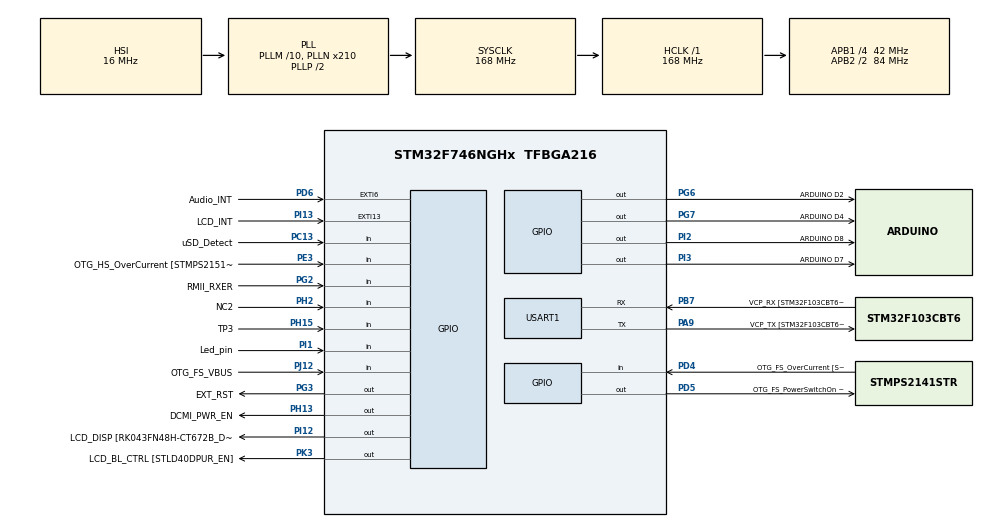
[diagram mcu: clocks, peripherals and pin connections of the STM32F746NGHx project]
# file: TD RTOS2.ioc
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FREERTOS.Tasks01=defaultTask,0,128,StartDefaultTask,Default,NULL,Dynamic,NULL,NULL
Mcu.Family=STM32F7
Mcu.Name=STM32F746NGHx
Mcu.Package=TFBGA216
NVIC.PriorityGroup=NVIC_PRIORITYGROUP_4
NVIC.TIM6_DAC_IRQn=true\:15\:0\:false\:false\:true\:false\:false\:true\:true
NVIC.TimeBase=TIM6_DAC_IRQn
NVIC.TimeBaseIP=TIM6
NVIC.USART1_IRQn=true\:5\:0\:false\:false\:true\:true\:true\:true\:true
PA0/WKUP.GPIO_Label=ARDUINO A0
PA0/WKUP.GPIO_Mode=GPIO_MODE_ANALOG
PA0/WKUP.GPIO_PuPd=GPIO_NOPULL
PA0/WKUP.Signal=ADCx_IN0
PA1.GPIO_Label=RMII_REF_CLK [LAN8742A-CZ-TR_REFCLK0]
PA1.Signal=ETH_REF_CLK
PA10.GPIO_Label=OTG_FS_ID
PA10.Signal=USB_OTG_FS_ID
PA11.GPIO_Label=OTG_FS_N
PA11.Signal=USB_OTG_FS_DM
PA12.GPIO_Label=OTG_FS_P
PA12.Signal=USB_OTG_FS_DP
PA13.GPIO_Label=SWDIO
PA13.Mode=Serial_Wire
PA13.Signal=SYS_JTMS-SWDIO
PA14.GPIO_Label=SWCLK
PA14.Mode=Serial_Wire
PA14.Signal=SYS_JTCK-SWCLK
PA15.GPIO_Label=ARDUINO PWM/D9
PA15.GPIO_ModeDefaultPP=GPIO_MODE_AF_PP
PA15.GPIO_PuPd=GPIO_NOPULL
PA15.GPIO_Speed=GPIO_SPEED_FREQ_LOW
PA15.Signal=S_TIM2_CH1_ETR
PA2.GPIO_Label=RMII_MDIO [LAN8742A-CZ-TR_MDIO]
PA2.Signal=ETH_MDIO
PA3.GPIO_Label=ULPI_D0 [USB3320C-EZK_D0]
PA3.Signal=USB_OTG_HS_ULPI_D0
PA4.GPIO_Label=DCMI_HSYNC
PA4.Signal=DCMI_HSYNC
PA5.GPIO_Label=ULPI_CLK [USB3320C-EZK_CLKOUT]
PA5.Signal=USB_OTG_HS_ULPI_CK
PA6.Signal=DCMI_PIXCLK
PA7.GPIO_Label=RMII_CRS_DV [LAN8742A-CZ-TR_CRS_DV]
PA7.Signal=ETH_CRS_DV
PA8.GPIO_Label=ARDUINO PWM/D10
PA8.GPIO_ModeDefaultPP=GPIO_MODE_AF_PP
PA8.GPIO_PuPd=GPIO_NOPULL
PA8.GPIO_Speed=GPIO_SPEED_FREQ_LOW
PA8.Signal=S_TIM1_CH1
PA9.GPIO_Label=VCP_TX [STM32F103CBT6_PA3]
PA9.GPIO_Mode=GPIO_MODE_AF_PP
PA9.GPIO_PuPd=GPIO_NOPULL
PA9.GPIO_Speed=GPIO_SPEED_FREQ_LOW
PA9.Mode=Asynchronous
PA9.Signal=USART1_TX
PB0.GPIO_Label=ULPI_D1 [USB3320C-EZK_D1]
PB0.Signal=USB_OTG_HS_ULPI_D1
PB1.GPIO_Label=ULPI_D2 [USB3320C-EZK_D2]
PB1.Signal=USB_OTG_HS_ULPI_D2
PB10.GPIO_Label=ULPI_D3 [USB3320C-EZK_D3]
PB10.Signal=USB_OTG_HS_ULPI_D3
PB11.GPIO_Label=ULPI_D4 [USB3320C-EZK_D4]
PB11.Signal=USB_OTG_HS_ULPI_D4
PB12.GPIO_Label=ULPI_D5 [USB3320C-EZK_D5]
PB12.Signal=USB_OTG_HS_ULPI_D5
PB13.GPIO_Label=ULPI_D6 [USB3320C-EZK_D6]
PB13.Signal=USB_OTG_HS_ULPI_D6
PB14.GPIO_Label=ARDUINO MISO/D12
PB14.GPIO_Mode=GPIO_MODE_AF_PP
PB14.GPIO_PuPd=GPIO_NOPULL
PB14.GPIO_Speed=GPIO_SPEED_FREQ_LOW
PB14.Signal=SPI2_MISO
PB15.GPIO_Label=ARDUINO MOSI/PWM/D11
PB15.GPIO_Mode=GPIO_MODE_AF_PP
PB15.GPIO_PuPd=GPIO_NOPULL
PB15.GPIO_Speed=GPIO_SPEED_FREQ_LOW
PB15.Signal=SPI2_MOSI
PB2.Signal=QUADSPI_CLK
PB3.GPIO_Label=SWO
PB3.Signal=SYS_JTDO-SWO
PB4.GPIO_Label=ARDUINO PWM/D3
PB4.GPIO_ModeDefaultPP=GPIO_MODE_AF_PP
PB4.GPIO_PuPd=GPIO_NOPULL
PB4.GPIO_Speed=GPIO_SPEED_FREQ_LOW
PB4.Signal=S_TIM3_CH1
PB5.GPIO_Label=ULPI_D7 [USB3320C-EZK_D7]
PB5.Signal=USB_OTG_HS_ULPI_D7
PB6.GPIO_Label=QSPI_NCS [N25Q128A13EF840E_S]
PB6.Signal=QUADSPI_BK1_NCS
PB7.GPIO_Label=VCP_RX [STM32F103CBT6_PA2]
PB7.GPIO_Mode=GPIO_MODE_AF_PP
PB7.GPIO_PuPd=GPIO_NOPULL
PB7.GPIO_Speed=GPIO_SPEED_FREQ_LOW
PB7.Mode=Asynchronous
PB7.Signal=USART1_RX
PB8.GPIO_Label=ARDUINO SCL/D15
PB8.GPIO_Mode=GPIO_MODE_AF_OD
PB8.GPIO_PuPd=GPIO_NOPULL
PB8.GPIO_Speed=GPIO_SPEED_FREQ_LOW
PB8.Signal=I2C1_SCL
PB9.GPIO_Label=ARDUINO SDA/D14
PB9.GPIO_Mode=GPIO_MODE_AF_OD
PB9.GPIO_PuPd=GPIO_NOPULL
PB9.GPIO_Speed=GPIO_SPEED_FREQ_LOW
PB9.Signal=I2C1_SDA
PC0.GPIO_Label=ULPI_STP [USB3320C-EZK_STP]
PC0.Signal=USB_OTG_HS_ULPI_STP
PC1.GPIO_Label=RMII_MDC [LAN8742A-CZ-TR_MDC]
PC1.Signal=ETH_MDC
PC10.GPIO_Label=SDMMC_D2
PC10.Signal=SDMMC1_D2
PC11.GPIO_Label=SDMMC_D3
PC11.Signal=SDMMC1_D3
PC12.GPIO_Label=SDMMC_CK
PC12.Signal=SDMMC1_CK
PC13.GPIO_Label=uSD_Detect
PC13.Signal=GPIO_Input
PC14/OSC32_IN.GPIO_Label=RCC_OSC32_IN
PC14/OSC32_IN.Signal=RCC_OSC32_IN
PC15/OSC32_OUT.GPIO_Label=RCC_OSC32_OUT
PC15/OSC32_OUT.Signal=RCC_OSC32_OUT
PC2.GPIO_Label=ULPI_DIR [USB3320C-EZK_DIR]
PC2.Signal=USB_OTG_HS_ULPI_DIR
PC3.GPIO_Label=FMC_SDCKE0 [MT48LC4M32B2B5-6A_CKE]
PC3.Signal=FMC_SDCKE0
PC4.GPIO_Label=RMII_RXD0 [LAN8742A-CZ-TR_RXD0]
PC4.Signal=ETH_RXD0
PC5.GPIO_Label=RMII_RXD1 [LAN8742A-CZ-TR_RXD1]
PC5.Signal=ETH_RXD1
PC6.GPIO_Label=ARDUINO TX/D1
PC6.Signal=USART6_TX
PC7.GPIO_Label=ARDUINO RX/D0
PC7.Signal=USART6_RX
PC8.Signal=SDMMC1_D0
PC9.Signal=SDMMC1_D1
PD0.GPIO_Label=FMC_D2 [MT48LC4M32B2B5-6A_DQ2]
PD0.Signal=FMC_D2_DA2
PD1.GPIO_Label=FMC_D3 [MT48LC4M32B2B5-6A_DQ3]
PD1.Signal=FMC_D3_DA3
PD10.GPIO_Label=FMC_D15 [MT48LC4M32B2B5-6A_DQ15]
PD10.Signal=FMC_D15_DA15
PD11.GPIO_Label=QSPI_D0 [N25Q128A13EF840E_DQ0]
PD11.Signal=QUADSPI_BK1_IO0
PD12.GPIO_Label=QSPI_D1 [N25Q128A13EF840E_DQ1]
PD12.Signal=QUADSPI_BK1_IO1
PD13.GPIO_Label=QSPI_D3 [N25Q128A13EF840E_DQ3]
PD13.Signal=QUADSPI_BK1_IO3
PD14.GPIO_Label=FMC_D0 [MT48LC4M32B2B5-6A_DQ0]
PD14.Signal=FMC_D0_DA0
PD15.GPIO_Label=FMC_D1 [MT48LC4M32B2B5-6A_DQ1]
PD15.Signal=FMC_D1_DA1
PD2.GPIO_Label=SDMMC_D0
PD2.Signal=SDMMC1_CMD
PD3.GPIO_Label=DCMI_D5
PD3.Signal=DCMI_D5
PD4.GPIO_Label=OTG_FS_OverCurrent [STMPS2141STR_Fault]
PD4.Signal=GPIO_Input
PD5.GPIO_Label=OTG_FS_PowerSwitchOn [STMPS2141STR_EN]
PD5.PinState=GPIO_PIN_SET
PD5.Signal=GPIO_Output
PD6.GPIO_Label=Audio_INT
PD6.GPIO_ModeDefaultEXTI=GPIO_MODE_EVT_RISING
PD6.Signal=GPXTI6
PD7.GPIO_Label=SPDIF_RX0 [74LVC1G04SE_4]
PD7.Signal=SPDIFRX_IN0
PD8.GPIO_Label=FMC_D13 [MT48LC4M32B2B5-6A_DQ13]
PD8.Signal=FMC_D13_DA13
PD9.GPIO_Label=FMC_D14 [MT48LC4M32B2B5-6A_DQ14]
PD9.Signal=FMC_D14_DA14
PE0.GPIO_Label=FMC_NBL0 [MT48LC4M32B2B5-6A_DQM0]
PE0.Signal=FMC_NBL0
PE1.GPIO_Label=FMC_NBL1 [MT48LC4M32B2B5-6A_DQM1]
PE1.Signal=FMC_NBL1
PE10.GPIO_Label=FMC_D7 [MT48LC4M32B2B5-6A_DQ7]
PE10.Signal=FMC_D7_DA7
PE11.GPIO_Label=FMC_D8 [MT48LC4M32B2B5-6A_DQ8]
PE11.Signal=FMC_D8_DA8
PE12.GPIO_Label=FMC_D9 [MT48LC4M32B2B5-6A_DQ9]
PE12.Signal=FMC_D9_DA9
PE13.GPIO_Label=FMC_D10 [MT48LC4M32B2B5-6A_DQ10]
PE13.Signal=FMC_D10_DA10
PE14.GPIO_Label=FMC_D11 [MT48LC4M32B2B5-6A_DQ11]
PE14.Signal=FMC_D11_DA11
PE15.GPIO_Label=FMC_D12 [MT48LC4M32B2B5-6A_DQ12]
PE15.Signal=FMC_D12_DA12
PE2.GPIO_Label=QSPI_D2 [N25Q128A13EF840E_DQ2]
PE2.Signal=QUADSPI_BK1_IO2
PE3.GPIO_Label=OTG_HS_OverCurrent [STMPS2151STR_FAULT]
PE3.Signal=GPIO_Input
PE4.GPIO_Label=LCD_B0 [RK043FN48H-CT672B_B0]
PE4.Signal=LTDC_B0
PE5.GPIO_Label=DCMI_D6
PE5.Signal=DCMI_D6
PE6.GPIO_Label=DCMI_D7
PE6.Signal=DCMI_D7
PE7.GPIO_Label=FMC_D4 [MT48LC4M32B2B5-6A_DQ4]
PE7.Signal=FMC_D4_DA4
PE8.GPIO_Label=FMC_D5 [MT48LC4M32B2B5-6A_DQ5]
PE8.Signal=FMC_D5_DA5
PE9.GPIO_Label=FMC_D6 [MT48LC4M32B2B5-6A_DQ6]
PE9.Signal=FMC_D6_DA6
PF0.GPIO_Label=FMC_A0 [MT48LC4M32B2B5-6A_A0]
PF0.Signal=FMC_A0
PF1.GPIO_Label=FMC_A1 [MT48LC4M32B2B5-6A_A1]
PF1.Signal=FMC_A1
PF10.GPIO_Label=ARDUINO A1
PF10.GPIO_Mode=GPIO_MODE_ANALOG
PF10.GPIO_PuPd=GPIO_NOPULL
PF10.Signal=ADC3_IN8
PF11.GPIO_Label=FMC_SDNRAS [MT48LC4M32B2B5-6A_RAS]
PF11.Signal=FMC_SDNRAS
PF12.GPIO_Label=FMC_A6 [MT48LC4M32B2B5-6A_A6]
PF12.Signal=FMC_A6
PF13.GPIO_Label=FMC_A7 [MT48LC4M32B2B5-6A_A7]
PF13.Signal=FMC_A7
PF14.GPIO_Label=FMC_A8 [MT48LC4M32B2B5-6A_A8]
PF14.Signal=FMC_A8
PF15.GPIO_Label=FMC_A9 [MT48LC4M32B2B5-6A_A9]
PF15.Signal=FMC_A9
PF2.GPIO_Label=FMC_A2 [MT48LC4M32B2B5-6A_A2]
PF2.Signal=FMC_A2
PF3.GPIO_Label=FMC_A3 [MT48LC4M32B2B5-6A_A3]
PF3.Signal=FMC_A3
PF4.GPIO_Label=FMC_A4 [MT48LC4M32B2B5-6A_A4]
PF4.Signal=FMC_A4
PF5.GPIO_Label=FMC_A5 [MT48LC4M32B2B5-6A_A5]
PF5.Signal=FMC_A5
PF6.GPIO_Label=ARDUINO A5
PF6.GPIO_Mode=GPIO_MODE_ANALOG
PF6.GPIO_PuPd=GPIO_NOPULL
PF6.Signal=ADC3_IN4
PF7.GPIO_Label=ARDUINO A4
PF7.GPIO_Mode=GPIO_MODE_ANALOG
PF7.GPIO_PuPd=GPIO_NOPULL
PF7.Signal=ADC3_IN5
PF8.GPIO_Label=ARDUINO A3
PF8.GPIO_Mode=GPIO_MODE_ANALOG
PF8.GPIO_PuPd=GPIO_NOPULL
PF8.Signal=ADC3_IN6
PF9.GPIO_Label=ARDUINO A2
PF9.GPIO_Mode=GPIO_MODE_ANALOG
PF9.GPIO_PuPd=GPIO_NOPULL
PF9.Signal=ADC3_IN7
PG0.GPIO_Label=FMC_A10 [MT48LC4M32B2B5-6A_A10]
PG0.Signal=FMC_A10
PG1.GPIO_Label=FMC_A11 [MT48LC4M32B2B5-6A_A11]
PG1.Signal=FMC_A11
PG10.GPIO_Label=SAI2_SDB [WM8994ECS/R_ADCDAT1]
PG10.Signal=SAI2_SD_B
PG11.GPIO_Label=RMII_TX_EN [LAN8742A-CZ-TR_TXEN]
PG11.Signal=ETH_TX_EN
PG12.GPIO_Label=LCD_B4 [RK043FN48H-CT672B_B4]
PG12.Signal=LTDC_B4
PG13.GPIO_Label=RMII_TXD0 [LAN8742A-CZ-TR_TXD0]
PG13.Signal=ETH_TXD0
PG14.GPIO_Label=RMII_TXD1 [LAN8742A-CZ-TR_TXD1]
PG14.Signal=ETH_TXD1
PG15.GPIO_Label=FMC_SDNCAS [MT48LC4M32B2B5-6A_CAS]
PG15.Signal=FMC_SDNCAS
PG2.GPIO_Label=RMII_RXER
PG2.Signal=GPIO_Input
PG3.GPIO_Label=EXT_RST
PG3.Signal=GPIO_Output
PG4.GPIO_Label=FMC_BA0 [MT48LC4M32B2B5-6A_BA0]
PG4.Signal=FMC_A14_BA0
PG5.GPIO_Label=FMC_BA1 [MT48LC4M32B2B5-6A_BA1]
PG5.Signal=FMC_A15_BA1
PG6.GPIO_Label=ARDUINO D2
PG6.Signal=GPIO_Output
PG7.GPIO_Label=ARDUINO D4
PG7.Signal=GPIO_Output
PG8.GPIO_Label=FMC_SDCLK [MT48LC4M32B2B5-6A_CLK]
PG8.Signal=FMC_SDCLK
PG9.GPIO_Label=DCMI_VSYNC
PG9.Signal=DCMI_VSYNC
PH0/OSC_IN.GPIO_Label=OSC_25M [NZ2520SB-25.00M_OUT]
PH0/OSC_IN.Mode=HSE-External-Oscillator
PH0/OSC_IN.Signal=RCC_OSC_IN
PH1/OSC_OUT.Mode=HSE-External-Oscillator
PH1/OSC_OUT.Signal=RCC_OSC_OUT
PH10.GPIO_Label=DCMI_D1
PH10.Signal=DCMI_D1
PH11.GPIO_Label=DCMI_D2
PH11.Signal=DCMI_D2
PH12.GPIO_Label=DCMI_D3
PH12.Signal=DCMI_D3
PH13.GPIO_Label=DCMI_PWR_EN
PH13.Signal=GPIO_Output
PH14.GPIO_Label=DCMI_D4
PH14.Signal=DCMI_D4
PH15.GPIO_Label=TP3
PH15.Signal=GPIO_Input
PH2.GPIO_Label=NC2
PH2.Signal=GPIO_Input
PH3.GPIO_Label=FMC_SDNE0 [MT48LC4M32B2B5-6A_CS]
PH3.Signal=FMC_SDNE0
PH4.GPIO_Label=ULPI_NXT [USB3320C-EZK_NXT]
PH4.Signal=USB_OTG_HS_ULPI_NXT
PH5.GPIO_Label=FMC_SDNME [MT48LC4M32B2B5-6A_WE]
PH5.Signal=FMC_SDNWE
PH6.GPIO_Label=ARDUINO PWM/D6
PH6.Signal=S_TIM12_CH1
PH7.GPIO_Label=LCD_SCL [RK043FN48H-CT672B_SCL]
PH7.Signal=I2C3_SCL
PH8.GPIO_Label=LCD_SDA [RK043FN48H-CT672B_SDA]
PH8.Signal=I2C3_SDA
PH9.GPIO_Label=DCMI_D0
PH9.Signal=DCMI_D0
PI0.GPIO_Label=ARDUINO PWM/CS/D5
PI0.GPIO_ModeDefaultPP=GPIO_MODE_AF_PP
PI0.GPIO_PuPd=GPIO_NOPULL
PI0.GPIO_Speed=GPIO_SPEED_FREQ_LOW
PI0.Signal=S_TIM5_CH4
PI1.GPIO_Label=Led_pin
PI1.Signal=GPIO_Input
PI10.GPIO_Label=LCD_HSYNC [RK043FN48H-CT672B_HSYNC]
PI10.Signal=LTDC_HSYNC
PI12.GPIO_Label=LCD_DISP [RK043FN48H-CT672B_DISP] 
PI12.Signal=GPIO_Output
PI13.GPIO_Label=LCD_INT
PI13.GPIO_ModeDefaultEXTI=GPIO_MODE_EVT_RISING
PI13.Signal=GPXTI13
PI14.GPIO_Label=LCD_CLK [RK043FN48H-CT672B_CLK]
PI14.Signal=LTDC_CLK
PI15.GPIO_Label=LCD_R0 [RK043FN48H-CT672B_R0]
PI15.Signal=LTDC_R0
PI2.GPIO_Label=ARDUINO D8
PI2.Signal=GPIO_Output
PI3.GPIO_Label=ARDUINO D7
PI3.Signal=GPIO_Output
PI4.GPIO_Label=SAI2_MCLKA [WM8994ECS/R_MCLK1]
PI4.Signal=SAI2_MCLK_A
PI5.GPIO_Label=SAI2_SCKA [WM8994ECS/R_BCLK1]
PI5.Signal=SAI2_SCK_A
PI6.GPIO_Label=SAI2_SDA [WM8994ECS/R_DACDAT1]
PI6.Signal=SAI2_SD_A
PI7.GPIO_Label=SAI2_FSA [WM8994ECS/R_LRCLK1]
PI7.Signal=SAI2_FS_A
PI8.GPIO_Label=NC1 [TP2]
PI8.Signal=RTC_TS
PI9.GPIO_Label=LCD_VSYNC [RK043FN48H-CT672B_VSYNC]
PI9.Signal=LTDC_VSYNC
PJ0.GPIO_Label=LCD_R1 [RK043FN48H-CT672B_R1]
PJ0.Signal=LTDC_R1
PJ1.GPIO_Label=LCD_R2 [RK043FN48H-CT672B_R2]
PJ1.Signal=LTDC_R2
PJ10.GPIO_Label=LCD_G3 [RK043FN48H-CT672B_G3]
PJ10.Signal=LTDC_G3
PJ11.GPIO_Label=LCD_G4 [RK043FN48H-CT672B_G4]
PJ11.Signal=LTDC_G4
PJ12.GPIO_Label=OTG_FS_VBUS
PJ12.Signal=GPIO_Input
PJ13.GPIO_Label=LCD_B1 [RK043FN48H-CT672B_B1]
PJ13.Signal=LTDC_B1
PJ14.GPIO_Label=LCD_B2 [RK043FN48H-CT672B_B2]
PJ14.Signal=LTDC_B2
PJ15.GPIO_Label=LCD_B3 [RK043FN48H-CT672B_B3]
PJ15.Signal=LTDC_B3
PJ2.GPIO_Label=LCD_R3 [RK043FN48H-CT672B_R3]
PJ2.Signal=LTDC_R3
PJ3.GPIO_Label=LCD_R4 [RK043FN48H-CT672B_R4]
PJ3.Signal=LTDC_R4
PJ4.GPIO_Label=LCD_R5 [RK043FN48H-CT672B_R5]
PJ4.Signal=LTDC_R5
PJ5.GPIO_Label=LCD_R6 [RK043FN48H-CT672B_R6]
PJ5.Signal=LTDC_R6
PJ6.GPIO_Label=LCD_R7 [RK043FN48H-CT672B_R7]
PJ6.Signal=LTDC_R7
PJ7.GPIO_Label=LCD_G0 [RK043FN48H-CT672B_G0]
PJ7.Signal=LTDC_G0
PJ8.GPIO_Label=LCD_G1 [RK043FN48H-CT672B_G1]
PJ8.Signal=LTDC_G1
PJ9.GPIO_Label=LCD_G2 [RK043FN48H-CT672B_G2]
PJ9.Signal=LTDC_G2
PK0.GPIO_Label=LCD_G5 [RK043FN48H-CT672B_G5]
PK0.Signal=LTDC_G5
PK1.GPIO_Label=LCD_G6 [RK043FN48H-CT672B_G6]
PK1.Signal=LTDC_G6
PK2.GPIO_Label=LCD_G7 [RK043FN48H-CT672B_G7]
PK2.Signal=LTDC_G7
PK3.GPIO_Label=LCD_BL_CTRL [STLD40DPUR_EN]
PK3.Signal=GPIO_Output
PK4.GPIO_Label=LCD_B5 [RK043FN48H-CT672B_B5]
PK4.Signal=LTDC_B5
PK5.GPIO_Label=LCD_B6 [RK043FN48H-CT672B_B6]
PK5.Signal=LTDC_B6
PK6.GPIO_Label=LCD_B7 [RK043FN48H-CT672B_B7]
PK6.Signal=LTDC_B7
PK7.GPIO_Label=LCD_DE [RK043FN48H-CT672B_DE]
PK7.Signal=LTDC_DE
ProjectManager.HeapSize=0x200
ProjectManager.StackSize=0x400
ProjectManager.TargetToolchain=STM32CubeIDE
RCC.AHBFreq_Value=168000000
RCC.APB1CLKDivider=RCC_HCLK_DIV4
RCC.APB1Freq_Value=42000000
RCC.APB1TimFreq_Value=84000000
RCC.APB2CLKDivider=RCC_HCLK_DIV2
RCC.APB2Freq_Value=84000000
RCC.APB2TimFreq_Value=168000000
RCC.CortexFreq_Value=168000000
RCC.HCLKFreq_Value=168000000
RCC.HSE_VALUE=25000000
RCC.HSI_VALUE=16000000
RCC.LSE_VALUE=32768
RCC.PLLM=10
RCC.PLLN=210
RCC.PLLSourceVirtual=RCC_PLLSOURCE_HSI
RCC.SYSCLKFreq_VALUE=168000000
RCC.SYSCLKSource=RCC_SYSCLKSOURCE_PLLCLK
RCC.USBFreq_Value=168000000
RCC.VCOOutputFreq_Value=336000000
SH.ADCx_IN0.0=ADC3_IN0
SH.FMC_A0.0=FMC_A0
SH.FMC_A1.0=FMC_A1
SH.FMC_A10.0=FMC_A10
SH.FMC_A11.0=FMC_A11
SH.FMC_A14_BA0.0=FMC_BA0
SH.FMC_A15_BA1.0=FMC_BA1
SH.FMC_A2.0=FMC_A2
SH.FMC_A3.0=FMC_A3
SH.FMC_A4.0=FMC_A4
SH.FMC_A5.0=FMC_A5
SH.FMC_A6.0=FMC_A6
SH.FMC_A7.0=FMC_A7
SH.FMC_A8.0=FMC_A8
SH.FMC_A9.0=FMC_A9
SH.FMC_D0_DA0.0=FMC_D0
SH.FMC_D10_DA10.0=FMC_D10
SH.FMC_D11_DA11.0=FMC_D11
SH.FMC_D12_DA12.0=FMC_D12
SH.FMC_D13_DA13.0=FMC_D13
SH.FMC_D14_DA14.0=FMC_D14
SH.FMC_D15_DA15.0=FMC_D15
SH.FMC_D1_DA1.0=FMC_D1
SH.FMC_D2_DA2.0=FMC_D2
SH.FMC_D3_DA3.0=FMC_D3
SH.FMC_D4_DA4.0=FMC_D4
SH.FMC_D5_DA5.0=FMC_D5
SH.FMC_D6_DA6.0=FMC_D6
SH.FMC_D7_DA7.0=FMC_D7
SH.FMC_D8_DA8.0=FMC_D8
SH.FMC_D9_DA9.0=FMC_D9
SH.FMC_NBL0.0=FMC_NBL0
SH.FMC_NBL1.0=FMC_NBL1
SH.FMC_SDCLK.0=FMC_SDCLK
SH.FMC_SDNCAS.0=FMC_SDNCAS
SH.FMC_SDNRAS.0=FMC_SDNRAS
SH.FMC_SDNWE.0=FMC_SDNWE
SH.S_TIM12_CH1.0=TIM12_CH1
SH.S_TIM1_CH1.0=TIM1_CH1
SH.S_TIM2_CH1_ETR.0=TIM2_CH1
SH.S_TIM3_CH1.0=TIM3_CH1
SH.S_TIM5_CH4.0=TIM5_CH4
USART1.VirtualMode-Asynchronous=VM_ASYNC
VP_FREERTOS_VS_CMSIS_V1.Mode=CMSIS_V1
VP_SYS_VS_tim6.Mode=TIM6
board=STM32F746G-DISCO

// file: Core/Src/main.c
/* USER CODE BEGIN Header */
/**
 ******************************************************************************
 * @file           : main.c
 * @brief          : Main program body
 ******************************************************************************
 * @attention
 *
 * Copyright (c) 2024 STMicroelectronics.
 * All rights reserved.
 *
 * This software is licensed under terms that can be found in the LICENSE file
 * in the root directory of this software component.
 * If no LICENSE file comes with this software, it is provided AS-IS.
 *
 ******************************************************************************
 */
/* USER CODE END Header */
#include "main.h"
#include "cmsis_os.h"
#include "usart.h"
#include "gpio.h"

void SystemClock_Config(void);
void MX_FREERTOS_Init(void);

/* USER CODE BEGIN 0 */

TaskHande_t handle_blink_led;
TaskHande_t handle_uart;

void task_blink_led(void * unused)
{
for (;;)
{
	HAL_GPIO_TogglePin(LED_GPIO_Port, LED_Pin);
	vTaskDelay(100);
}
}

void uart(void * unused)
{
for (;;)
{
	char chr;
	HAL_UART_Receive(&huart1, (uint8_t *)&chr, 1);
	//Ici il faut bloquer le programme jusqu'a la reception d'un caractere
	HAL_UART_Transmit(&huart1, (uint8_t *)&chr, 1, HAL_MAX_DELAY);
}
}
/* USER CODE END 0 */

int main(void)
{

  /* MCU Configuration--------------------------------------------------------*/

  /* Reset of all peripherals, Initializes the Flash interface and the Systick. */
  HAL_Init();

  /* Configure the system clock */
  SystemClock_Config();

  /* Initialize all configured peripherals */
  MX_GPIO_Init();
  MX_USART1_UART_Init();
  /* USER CODE BEGIN 2 */

  xTaskCreate(
		  task_blink_led,
		  "blink_led",
		  256, //taille de la pile (en mot de 32 bits)
		  NULL, //paramètre (pas utilisé ici)
		  3, //priorité
		  &handle_blink_led
  );

  xTaskCreate(
  		  task_uart,
  		  "blink_led",
  		  256, //taille de la pile (en mot de 32 bits)
  		  NULL, //paramètre (pas utilisé ici)
  		  2, //priorité
  		  &handle_uart
    );
  vTaskStartScheduler(); //boucle infini on execute rien apres
  /* USER CODE END 2 */

  /* Call init function for freertos objects (in freertos.c) */
  MX_FREERTOS_Init();

  /* Start scheduler */
  osKernelStart();

  /* We should never get here as control is now taken by the scheduler */
  /* Infinite loop */
	while (1)
	{

	}
}

void SystemClock_Config(void)
{
  RCC_OscInitTypeDef RCC_OscInitStruct = {0};
  RCC_ClkInitTypeDef RCC_ClkInitStruct = {0};

  /** Configure the main internal regulator output voltage
  */
  __HAL_RCC_PWR_CLK_ENABLE();
  __HAL_PWR_VOLTAGESCALING_CONFIG(PWR_REGULATOR_VOLTAGE_SCALE2);

  /** Initializes the RCC Oscillators according to the specified parameters
  * in the RCC_OscInitTypeDef structure.
  */
  RCC_OscInitStruct.OscillatorType = RCC_OSCILLATORTYPE_HSI;
  RCC_OscInitStruct.HSIState = RCC_HSI_ON;
  RCC_OscInitStruct.HSICalibrationValue = RCC_HSICALIBRATION_DEFAULT;
  RCC_OscInitStruct.PLL.PLLState = RCC_PLL_ON;
  RCC_OscInitStruct.PLL.PLLSource = RCC_PLLSOURCE_HSI;
  RCC_OscInitStruct.PLL.PLLM = 10;
  RCC_OscInitStruct.PLL.PLLN = 210;
  RCC_OscInitStruct.PLL.PLLP = RCC_PLLP_DIV2;
  RCC_OscInitStruct.PLL.PLLQ = 2;
  if (HAL_RCC_OscConfig(&RCC_OscInitStruct) != HAL_OK)
  {
    Error_Handler();
  }

  /** Initializes the CPU, AHB and APB buses clocks
  */
  RCC_ClkInitStruct.ClockType = RCC_CLOCKTYPE_HCLK|RCC_CLOCKTYPE_SYSCLK
                              |RCC_CLOCKTYPE_PCLK1|RCC_CLOCKTYPE_PCLK2;
  RCC_ClkInitStruct.SYSCLKSource = RCC_SYSCLKSOURCE_PLLCLK;
  RCC_ClkInitStruct.AHBCLKDivider = RCC_SYSCLK_DIV1;
  RCC_ClkInitStruct.APB1CLKDivider = RCC_HCLK_DIV4;
  RCC_ClkInitStruct.APB2CLKDivider = RCC_HCLK_DIV2;

  if (HAL_RCC_ClockConfig(&RCC_ClkInitStruct, FLASH_LATENCY_5) != HAL_OK)
  {
    Error_Handler();
  }
}

void HAL_TIM_PeriodElapsedCallback(TIM_HandleTypeDef *htim)
{
  if (htim->Instance == TIM6) {
    HAL_IncTick();
  }
}

void Error_Handler(void)
{
	__disable_irq();
	while (1)
	{
	}
}

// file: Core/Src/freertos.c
/* USER CODE BEGIN Header */
/**
  ******************************************************************************
  * File Name          : freertos.c
  * Description        : Code for freertos applications
  ******************************************************************************
  * @attention
  *
  * Copyright (c) 2024 STMicroelectronics.
  * All rights reserved.
  *
  * This software is licensed under terms that can be found in the LICENSE file
  * in the root directory of this software component.
  * If no LICENSE file comes with this software, it is provided AS-IS.
  *
  ******************************************************************************
  */
/* USER CODE END Header */

#include "FreeRTOS.h"
#include "task.h"
#include "main.h"
#include "cmsis_os.h"

osThreadId defaultTaskHandle;

void StartDefaultTask(void const * argument);

void MX_FREERTOS_Init(void); /* (MISRA C 2004 rule 8.1) */

/* GetIdleTaskMemory prototype (linked to static allocation support) */
void vApplicationGetIdleTaskMemory( StaticTask_t **ppxIdleTaskTCBBuffer, StackType_t **ppxIdleTaskStackBuffer, uint32_t *pulIdleTaskStackSize );

/* USER CODE BEGIN GET_IDLE_TASK_MEMORY */
static StaticTask_t xIdleTaskTCBBuffer;
static StackType_t xIdleStack[configMINIMAL_STACK_SIZE];

void vApplicationGetIdleTaskMemory( StaticTask_t **ppxIdleTaskTCBBuffer, StackType_t **ppxIdleTaskStackBuffer, uint32_t *pulIdleTaskStackSize )
{
  *ppxIdleTaskTCBBuffer = &xIdleTaskTCBBuffer;
  *ppxIdleTaskStackBuffer = &xIdleStack[0];
  *pulIdleTaskStackSize = configMINIMAL_STACK_SIZE;
  /* place for user code */
}
/* USER CODE END GET_IDLE_TASK_MEMORY */

void MX_FREERTOS_Init(void) {

  /* Create the thread(s) */
  /* definition and creation of defaultTask */
  osThreadDef(defaultTask, StartDefaultTask, osPriorityNormal, 0, 128);
  defaultTaskHandle = osThreadCreate(osThread(defaultTask), NULL);

}

void StartDefaultTask(void const * argument)
{
  for(;;)
  {
    osDelay(1);
  }
}
